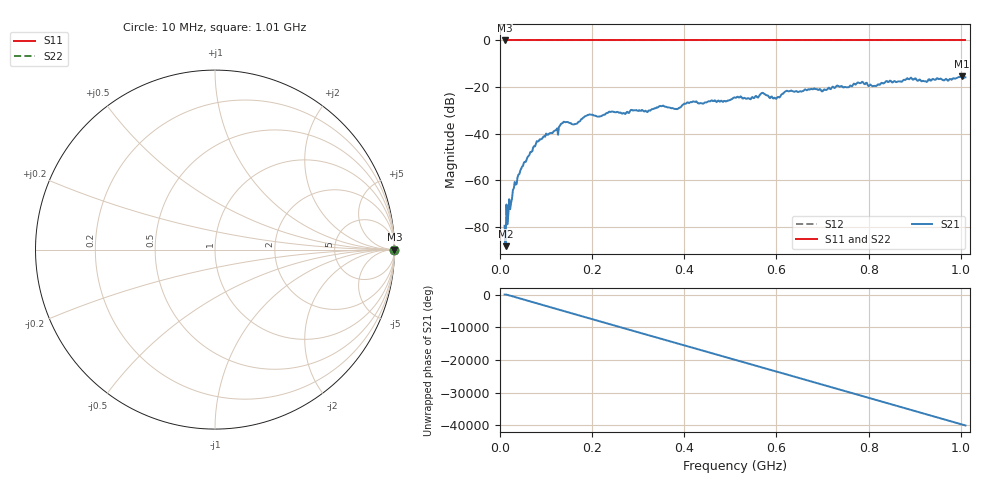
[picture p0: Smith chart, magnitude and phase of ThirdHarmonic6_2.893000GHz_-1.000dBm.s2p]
! 8/17/2025 7:58:21 AM
! C:\ANRITSUVNA\TEMP\TEMP.S2P
! CHANNEL.1
! TR.MEASUREMENT
! RAW.DATA
! RF.CORRECTION.OFF
! AVERAGING.OFF
! IF.BANDWIDTH: 5KHZ
! SWEEPTYPE:  FREQ.SWEEP(Linear)
! Reference Plane Port Info
! PORT:  PORT1  PORT2
! DISTANCE:  0  m  0  m
! TIME:  0  s  0  s
! PHASE.OFFSET:  0  deg.  0  deg.
! LOSS:  0  dB  0  dB
! REF.LOSS:  0  dB  0  dB
! REF.FREQ:  0  Hz  0  Hz
! Power Info
! POWER:  -20  dBm  -20  dBm
! EFF.POWER:  -20  dBm  -20  dBm
! SOURCE.ATTEN:  0  dB  0  dB
! TEST.ATTEN:  0  dB  0  dB
# GHZ S RI R 50.0
! FREQ.GHZ  S11RE  S11IM  S21RE  S21IM  S12RE  S12IM  S22RE  S22IM
!; PortSelection: Port_12
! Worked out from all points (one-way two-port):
!   501 points, 10 MHz to 1.01 GHz, reference 50 ohm
!   highest |S21| = -15.41 dB at 1.002 GHz (marker M1); lowest = -88.3 dB at 12 MHz (marker M2)
!   lowest |S11| = 0.0 dB at 10 MHz (marker M3)
!   |S11| at or under -10 dB: nowhere
!   |S22| runs from 0.0 to 0.0 dB; largest |S21 - S12| = 1.2
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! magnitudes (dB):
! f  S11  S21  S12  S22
! 10 MHz  0.0  -79.6  0.0  0.0
! 12 MHz  0.0  -88.3  0.0  0.0
! 30 MHz  0.0  -63.5  0.0  0.0
! 42 MHz  0.0  -57.4  0.0  0.0
! 76 MHz  0.0  -45.4  0.0  0.0
! 136 MHz  0.0  -35.4  0.0  0.0
! 162 MHz  0.0  -35.9  0.0  0.0
! 178 MHz  0.0  -33.7  0.0  0.0
! 344 MHz  0.0  -28.5  0.0  0.0
! 382 MHz  0.0  -29.4  0.0  0.0
! 416 MHz  0.0  -26.5  0.0  0.0
! 510 MHz  0.0  -24.5  0.0  0.0
! 540 MHz  0.0  -24.8  0.0  0.0
! 570 MHz  0.0  -22.5  0.0  0.0
! 596 MHz  0.0  -24.6  0.0  0.0
! 622 MHz  0.0  -21.6  0.0  0.0
! 678 MHz  0.0  -21.0  0.0  0.0
! 784 MHz  0.0  -18.2  0.0  0.0
! 812 MHz  0.0  -19.5  0.0  0.0
! 844 MHz  0.0  -17.8  0.0  0.0
! 1.002 GHz  0.0  -15.4  0.0  0.0
! 1.01 GHz  0.0  -15.8  0.0  0.0
